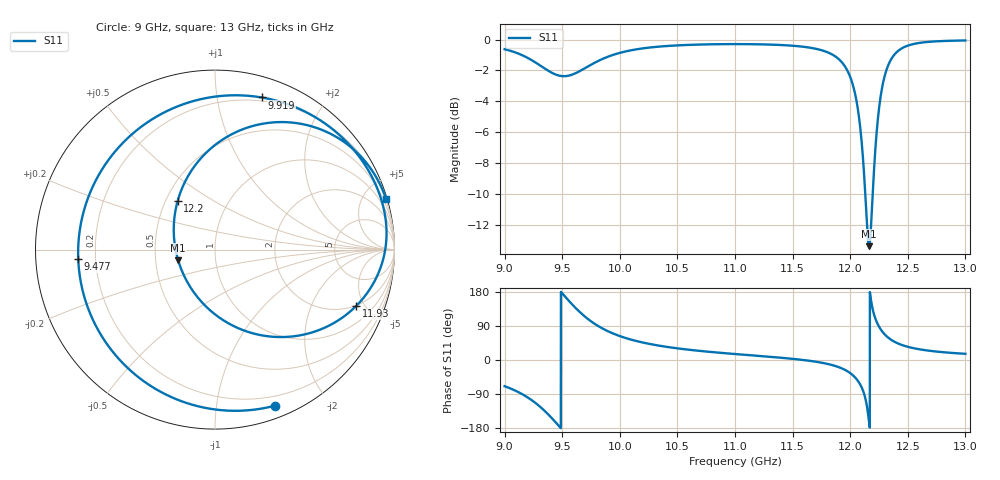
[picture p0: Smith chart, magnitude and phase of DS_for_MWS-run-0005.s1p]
! TOUCHSTONE file generated by CST DESIGN STUDIO
! Date and time: Tue Feb  4 17:58:44 2025
! Project name: C:\Work\MatlabApps\UnitCellOptimizationMatlab\CST\unitcell.cst
! Tree item: Tasks\Sweep1\SPara1\S-Parameters
! Header version: 2024
! Port assignment regex: !\s*Touchstone port\s*([0-9]+)\s*=\s*(CST MWS port|CST DES external port|CST DES block port)\s*(.+)\s* \(\"(.*)\"\)(\s*mode\s*([0-9]+))?.*
! Touchstone port assignment:
! Touchstone port 1 = CST DES external port 1 ("")
# GHz S MA R 50
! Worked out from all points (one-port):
!   4001 points, 9 GHz to 13 GHz, reference 50 ohm
!   lowest |S11| = -13.4 dB at 12.16 GHz (marker M1), VSWR 1.54, Z = 32.8 - j4.13 ohm
!   |S11| at or under -10 dB: 12.13 GHz to 12.2 GHz (64.71 MHz wide, 0.532 % of centre)
!   S11 on the Smith chart (normalised r, x): 9 GHz: 0.11, -1.45; 9.477 GHz: 0.13, -0.03; 9.919 GHz: 0.17, +1.34; 11.93 GHz: 1.96, -4.35; 12.2 GHz: 0.58, +0.35; 13 GHz: 0.14, +6.97
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9  0.9313 -69.1
9.151  0.891 -89.9
9.263  0.8457 -112.2
9.363  0.7997 -138.8
9.477  0.7639 -176.1
9.5  0.7616 175.9
9.604  0.7748 141.1
9.695  0.8072 115.1
9.794  0.8463 93.1
9.919  0.8867 72.9
10  0.9062 63.1
10.215  0.9387 45.1
10.5  0.9583 30.7
11  0.9675 15.7
11.5  0.9558 3.1
11.771  0.9196 -8.3
11.925  0.8467 -21.8
12  0.7572 -34.5
12.095  0.4857 -69.3
12.129  0.3248 -98.0
12.164  0.2137 -163.6
12.2  0.3403 127.8
12.246  0.5794 90.4
12.295  0.7512 69.1
12.383  0.8938 48.3
12.5  0.9566 34.8
12.686  0.9843 24.4
13  0.9942 16.3
